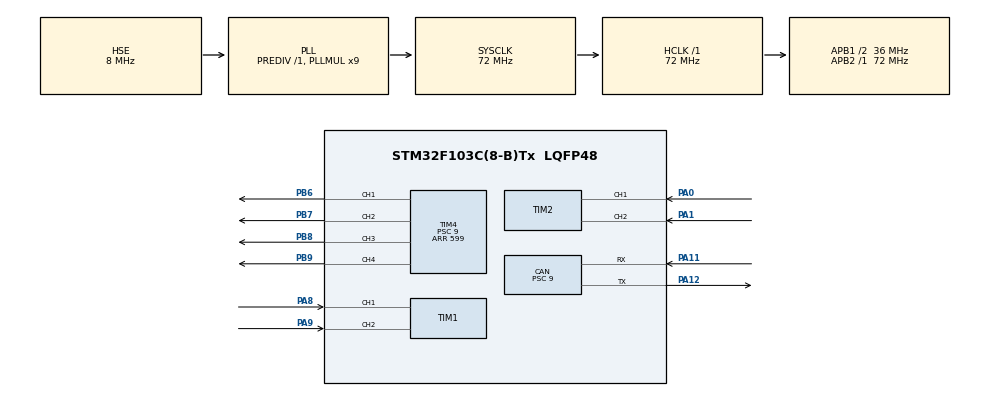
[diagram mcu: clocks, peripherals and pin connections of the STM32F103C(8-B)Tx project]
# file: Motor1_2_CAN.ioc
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CAN.BS1=CAN_BS1_2TQ
CAN.CalculateBaudRate=1000000
CAN.CalculateTimeBit=1000
CAN.CalculateTimeQuantum=250.0
CAN.Prescaler=9
Mcu.Family=STM32F1
Mcu.Name=STM32F103C(8-B)Tx
Mcu.Package=LQFP48
NVIC.CAN1_RX1_IRQn=true\:0\:0\:false\:false\:true\:true\:true\:true
NVIC.PriorityGroup=NVIC_PRIORITYGROUP_4
NVIC.TIM3_IRQn=true\:0\:0\:false\:false\:true\:true\:true\:true
PA0-WKUP.Signal=S_TIM2_CH1_ETR
PA1.Signal=S_TIM2_CH2
PA11.Mode=CAN_Activate
PA11.Signal=CAN_RX
PA12.Mode=CAN_Activate
PA12.Signal=CAN_TX
PA13.Mode=Serial_Wire
PA13.Signal=SYS_JTMS-SWDIO
PA14.Mode=Serial_Wire
PA14.Signal=SYS_JTCK-SWCLK
PA8.Signal=S_TIM1_CH1
PA9.Signal=S_TIM1_CH2
PB6.Signal=S_TIM4_CH1
PB7.Signal=S_TIM4_CH2
PB8.Signal=S_TIM4_CH3
PB9.Signal=S_TIM4_CH4
PD0-OSC_IN.Mode=HSE-External-Oscillator
PD0-OSC_IN.Signal=RCC_OSC_IN
PD1-OSC_OUT.Mode=HSE-External-Oscillator
PD1-OSC_OUT.Signal=RCC_OSC_OUT
ProjectManager.HeapSize=0x200
ProjectManager.StackSize=0x400
ProjectManager.TargetToolchain=STM32CubeIDE
RCC.AHBFreq_Value=72000000
RCC.APB1CLKDivider=RCC_HCLK_DIV2
RCC.APB1Freq_Value=36000000
RCC.APB1TimFreq_Value=72000000
RCC.APB2Freq_Value=72000000
RCC.APB2TimFreq_Value=72000000
RCC.HCLKFreq_Value=72000000
RCC.PLLMUL=RCC_PLL_MUL9
RCC.PLLSourceVirtual=RCC_PLLSOURCE_HSE
RCC.SYSCLKFreq_VALUE=72000000
RCC.SYSCLKSource=RCC_SYSCLKSOURCE_PLLCLK
RCC.USBFreq_Value=72000000
SH.S_TIM1_CH1.0=TIM1_CH1,Encoder_Interface
SH.S_TIM1_CH2.0=TIM1_CH2,Encoder_Interface
SH.S_TIM2_CH1_ETR.0=TIM2_CH1,Encoder_Interface
SH.S_TIM2_CH2.0=TIM2_CH2,Encoder_Interface
SH.S_TIM4_CH1.0=TIM4_CH1,PWM Generation1 CH1
SH.S_TIM4_CH2.0=TIM4_CH2,PWM Generation2 CH2
SH.S_TIM4_CH3.0=TIM4_CH3,PWM Generation3 CH3
SH.S_TIM4_CH4.0=TIM4_CH4,PWM Generation4 CH4
STMicroelectronics.X-CUBE-ALGOBUILD.1.3.0.LibraryCcDSPOoLibraryJjDSPOoLibrary=true
TIM1.AutoReloadPreload=TIM_AUTORELOAD_PRELOAD_ENABLE
TIM1.EncoderMode=TIM_ENCODERMODE_TI12
TIM1.IC1Filter=0
TIM1.IC2Filter=0
TIM1.IC2Polarity=TIM_ICPOLARITY_FALLING
TIM2.AutoReloadPreload=TIM_AUTORELOAD_PRELOAD_ENABLE
TIM2.EncoderMode=TIM_ENCODERMODE_TI12
TIM2.IC1Filter=0
TIM2.IC2Filter=0
TIM2.IC2Polarity=TIM_ICPOLARITY_FALLING
TIM3.AutoReloadPreload=TIM_AUTORELOAD_PRELOAD_ENABLE
TIM3.Period=9999
TIM3.Prescaler=71
TIM4.AutoReloadPreload=TIM_AUTORELOAD_PRELOAD_DISABLE
TIM4.Channel-PWM\ Generation1\ CH1=TIM_CHANNEL_1
TIM4.Channel-PWM\ Generation2\ CH2=TIM_CHANNEL_2
TIM4.Channel-PWM\ Generation3\ CH3=TIM_CHANNEL_3
TIM4.Channel-PWM\ Generation4\ CH4=TIM_CHANNEL_4
TIM4.Period=599
TIM4.Prescaler=9
VP_STMicroelectronics.X-CUBE-ALGOBUILD_VS_DSPOoLibraryJjLibrary_1.3.0_1.3.0.Mode=DSPOoLibraryJjLibrary
VP_TIM3_VS_ClockSourceINT.Mode=Internal
board=custom

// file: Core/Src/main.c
/* USER CODE BEGIN Header */
/**
  ******************************************************************************
  * @file           : main.c
  * @brief          : Main program body
  ******************************************************************************
  * @attention
  *
  * Copyright (c) 2023 STMicroelectronics.
  * All rights reserved.
  *
  * This software is licensed under terms that can be found in the LICENSE file
  * in the root directory of this software component.
  * If no LICENSE file comes with this software, it is provided AS-IS.
  *
  ******************************************************************************
  */
/* USER CODE END Header */
#include "main.h"
#include "can.h"
#include "tim.h"
#include "gpio.h"

/* USER CODE BEGIN Includes */
#define ARM_MATH_CM3

#include "arm_math.h"
#include "PID.h"
/* USER CODE END Includes */

/* USER CODE BEGIN PTD */
PIDController MPID;
#define R 0.05 //m
#define lx 0.165  //m
#define ly 0.225  //m
#define CPR 1308
#define Sample_time 10 // ms
#define pi 3.14
#define kp 0.4122
#define ki 101.8
//#define kp 19.213
//#define ki 396.582
#define kd 0
#define Motor1 0
#define Motor2 1
//#define Motor3 2
//#define Motor4 3

/* USER CODE END PTD */

/* USER CODE BEGIN PV */
CAN_RxHeaderTypeDef RxHeader;
uint8_t RxData[8];
CAN_TxHeaderTypeDef TxHeader;
uint8_t TxData[4];
uint32_t TxMailbox;
uint16_t ReadValue;
int flag = 0;
uint8_t cntt;
float RxData1 = 0;
float RxData2 = 0;
float RxData3 = 0;
float RxData4 = 0;
float v1; // target speed of motor1
float v2; // target speed of motor2
float v3; // target speed of motor3
float v4; // target speed of motor4
uint16_t count[4]; // count pulse from encoder
uint16_t new_count[4];
uint8_t count_state[4];
uint16_t diff[4]; // difference between count and new_count in a sample time
uint16_t V1_out = 0;
uint16_t V2_out = 0;
uint16_t V3_out = 0;
uint16_t V4_out = 0;
float speedM[4];
float rdps[4];

float Motor1_speed ;
float Motor2_speed ;
float V1; // target speed of motor1
float V2; // target speed of motor2
float V3; // target speed of motor3
float V4; // target speed of motor4

float pwm_M1 = 0;
float pwm_M2 = 0;
float V;
float v;
float Vx;
float Vy;
float Vz;
uint16_t v1_out = 0;
uint16_t v2_out = 0;
uint16_t v3_out = 0;
uint16_t v4_out = 0;
uint16_t c;
uint8_t speed;

/* USER CODE END PV */

void SystemClock_Config(void);
/* USER CODE BEGIN PFP */
float Motors_RPS( int j,float SampleTime, float N_round)
{

	new_count[Motor1] = TIM1->CNT;
	new_count[Motor2] = TIM2->CNT;

	count_state[Motor1] = __HAL_TIM_IS_TIM_COUNTING_DOWN(&htim1);
	count_state[Motor2] = __HAL_TIM_IS_TIM_COUNTING_DOWN(&htim2);
	if (count_state[j])
	{
		if (new_count[j] <= count[j])
		{ // Check for counter underflow
			diff[j] = count[j] - new_count[j];
		}
		else
		{
			diff[j] = (65536 - new_count[j]) + count[j];
		}
		speedM[j] = (float)diff[j] * 1000.0f / (N_round * SampleTime)*-1;
	}
	else
	{
		if (new_count[j] >= count[j])
		{ // Check for counter overflow
			diff[j] = new_count[j] - count[j];
		}
		else
		{
			diff[j] = (65536 - count[j]) + new_count[j];
		}
		speedM[j] = (float)diff[j] * 1000.0f / (N_round * SampleTime);
	}

	rdps[j] = -2.0f * pi * speedM[j];
	count[j] = new_count[j];

	return rdps[j];
}
float map(float Input, float Min_Input, float Max_Input, float Min_Output,
		float Max_Output) {

	return (float) ((Input - Min_Input) * (Max_Output - Min_Output)
			/ (Max_Input - Min_Input) + Min_Output);
}
void HAL_CAN_RxFifo1MsgPendingCallback(CAN_HandleTypeDef *hcan) {
	HAL_CAN_GetRxMessage(hcan, CAN_RX_FIFO1, &RxHeader, RxData);
		cntt++;
		while (cntt - 100 > 0) {
			//HAL_GPIO_TogglePin(GPIOC, GPIO_PIN_13);
			cntt = 0;
		}

	if (RxHeader.StdId == 0x407) {
		RxData1 = (RxData[0] << 8) | RxData[1];
		RxData2 = (RxData[2] << 8) | RxData[3];
		RxData3 = (RxData[4] << 8) | RxData[5];
		RxData4 = (RxData[6] << 8) | RxData[7];
		V1 = RxData1;
		V2 = RxData2;
		V3 = RxData3;
		V4 = RxData4;

		Vx = map(V1, 0, 65535, -1.5, 1.5);
		Vy = map(V2, 0, 65535, -1.5, 1.5);
		Vz = map(V3, 0, 65535, -3.14, 3.14);
		speed = map(V4, 0, 65535, 0.1, 0.5);
		flag = 1;

	}
}
/* USER CODE END PFP */

int main(void)
{
  /* USER CODE BEGIN 1 */
	PID_Init(&MPID, 2);
	MPID.T = 0.01; // T = 10ms
	MPID.limMax = 600;
	MPID.limMin = -600;
	MPID.limMaxInt = 600;
	MPID.limMinInt = -600;
	MPID.tau = 0; // for Kd
  /* USER CODE END 1 */

  /* MCU Configuration--------------------------------------------------------*/

  /* Reset of all peripherals, Initializes the Flash interface and the Systick. */
  HAL_Init();

  /* Configure the system clock */
  SystemClock_Config();

  /* Initialize all configured peripherals */
  MX_GPIO_Init();
  MX_CAN_Init();
  MX_TIM1_Init();
  MX_TIM2_Init();
  MX_TIM3_Init();
  MX_TIM4_Init();
  /* USER CODE BEGIN 2 */
  HAL_TIM_Base_Start_IT(&htim3);

    // TIMER PWM Generation
    HAL_TIM_PWM_Start(&htim4, TIM_CHANNEL_1);
    HAL_TIM_PWM_Start(&htim4, TIM_CHANNEL_2);
    HAL_TIM_PWM_Start(&htim4, TIM_CHANNEL_3);
    HAL_TIM_PWM_Start(&htim4, TIM_CHANNEL_4);

    // TIMER Encoder Mode
    HAL_TIM_Encoder_Start(&htim1, TIM_CHANNEL_ALL);
    HAL_TIM_Encoder_Start(&htim2, TIM_CHANNEL_ALL);
  // CAN Transmit

	HAL_CAN_Start(&hcan);
	HAL_CAN_ActivateNotification(&hcan, CAN_IT_RX_FIFO1_MSG_PENDING);
	TxHeader.DLC = 8;
	TxHeader.IDE = CAN_ID_STD;
	TxHeader.RTR = CAN_RTR_DATA;
	TxHeader.StdId = 0x215; //Slave1

  /* USER CODE END 2 */

  /* Infinite loop */
  while (1)
  {

  }
}

void SystemClock_Config(void)
{
  RCC_OscInitTypeDef RCC_OscInitStruct = {0};
  RCC_ClkInitTypeDef RCC_ClkInitStruct = {0};

  /** Initializes the RCC Oscillators according to the specified parameters
  * in the RCC_OscInitTypeDef structure.
  */
  RCC_OscInitStruct.OscillatorType = RCC_OSCILLATORTYPE_HSE;
  RCC_OscInitStruct.HSEState = RCC_HSE_ON;
  RCC_OscInitStruct.HSEPredivValue = RCC_HSE_PREDIV_DIV1;
  RCC_OscInitStruct.HSIState = RCC_HSI_ON;
  RCC_OscInitStruct.PLL.PLLState = RCC_PLL_ON;
  RCC_OscInitStruct.PLL.PLLSource = RCC_PLLSOURCE_HSE;
  RCC_OscInitStruct.PLL.PLLMUL = RCC_PLL_MUL9;
  if (HAL_RCC_OscConfig(&RCC_OscInitStruct) != HAL_OK)
  {
    Error_Handler();
  }

  /** Initializes the CPU, AHB and APB buses clocks
  */
  RCC_ClkInitStruct.ClockType = RCC_CLOCKTYPE_HCLK|RCC_CLOCKTYPE_SYSCLK
                              |RCC_CLOCKTYPE_PCLK1|RCC_CLOCKTYPE_PCLK2;
  RCC_ClkInitStruct.SYSCLKSource = RCC_SYSCLKSOURCE_PLLCLK;
  RCC_ClkInitStruct.AHBCLKDivider = RCC_SYSCLK_DIV1;
  RCC_ClkInitStruct.APB1CLKDivider = RCC_HCLK_DIV2;
  RCC_ClkInitStruct.APB2CLKDivider = RCC_HCLK_DIV1;

  if (HAL_RCC_ClockConfig(&RCC_ClkInitStruct, FLASH_LATENCY_2) != HAL_OK)
  {
    Error_Handler();
  }
}
/* USER CODE BEGIN 4 */
void HAL_TIM_PeriodElapsedCallback(TIM_HandleTypeDef *htim) {
	if (htim->Instance == TIM3) {
		//Inverskinematic of Mecanum
		v1 = ((1 / R) * (Vx - Vy - (Vz * (lx + ly)))) ;
		v2 = ((1 / R) * (Vx + Vy + (Vz * (lx + ly)))) ;
		// Motor measurement speed
		Motor1_speed = Motors_RPS(Motor1, Sample_time, CPR); // sample time 10ms
		Motor2_speed = Motors_RPS(Motor2, Sample_time, CPR); // sample time 10ms
		// PWM PID of Motor
		pwm_M1 = PID(&MPID, v1, Motor1_speed, kp, ki, kd, Motor1);
		pwm_M2 = PID(&MPID, v2, Motor2_speed, kp, ki, kd, Motor2);
		// Control Motor
		if (pwm_M1 > 20){
			TIM4->CCR1 = pwm_M1;
			TIM4->CCR2 = 0;
		}
		else if (pwm_M1 < -20){
			TIM4->CCR1 = 0;
			TIM4->CCR2 = -1 * pwm_M1;
		}
		else{
			TIM4->CCR1 = 0;
			TIM4->CCR2 = 0;
		}
		if (pwm_M2 > 20){
			TIM4->CCR3 = pwm_M2;
			TIM4->CCR4 = 0;
		}
		else if (pwm_M2 < -20){
			TIM4->CCR3 = 0;
			TIM4->CCR4 = -1 * pwm_M2;
		}
		else{
			TIM4->CCR3 = 0;
			TIM4->CCR4 = 0;
		}
		V1_out = map(Motor1_speed, -30, 30, 0, 65535);
		V2_out = map(Motor2_speed, -30, 30, 0, 65535);
		TxData[0] = ((V1_out & 0xFF00) >> 8);
		TxData[1] = (V1_out & 0x00FF);
		TxData[2] = ((V2_out & 0xFF00) >> 8);
		TxData[3] = (V2_out & 0x00FF);
		if (flag == 1){
			HAL_CAN_AddTxMessage(&hcan, &TxHeader, TxData, &TxMailbox);
			flag = 0;
		}
	}
}

/* USER CODE END 4 */

void Error_Handler(void)
{
  __disable_irq();
  while (1)
  {
  }
}
